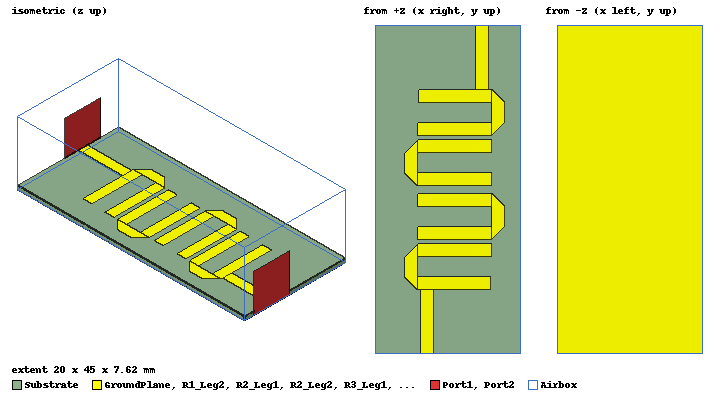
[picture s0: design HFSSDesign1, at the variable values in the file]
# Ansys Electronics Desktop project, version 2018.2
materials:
  copper: permeability=0.999991 conductivity=58000000
  FR4_epoxy: permittivity=4.4 dielectric_loss_tangent=0.02
  LossLess-Rogers RO4003 (tm): permittivity=3.55
  Rogers RO4003 (tm): permittivity=3.55 dielectric_loss_tangent=0.0027
  vacuum: permittivity=1

design HFSSDesign1 (HFSS, DrivenModal, model units mm)
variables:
  AirboxWidth = 45mm
  AirboxHeight = 20mm
  Thickness = 31mil
  a = 0.252
  Beta1 = 0.405
  Beta2 = Beta1
  R1Beta1 = 0.3999375  # optimise 0.2025..0.6075; tune 0.2025..0.6075
  W = 1.78mm
  W50 = 1.78mm
  Len = 24.95604769mm
  Resonator1W = a*Len
  Resonator1H = W + max(Beta1,Beta2)*Len
  Resonator2W = a*Len
  Resonator3W = a*Len
  Resonator4W = a*Len
  Spacing1 = 0.6720255mm  # optimise 0.38958mm..1.16874mm; tune 0.38958mm..1.16874mm
  Spacing2 = 1.00619125mm  # optimise 0.490825mm..1.472475mm; tune 0.490825mm..1.472475mm
  Spacing3 = Spacing1
  WeakGap = 0mm
  ResonatorsW = Resonator1W + Resonator2W + Resonator3W + Resonator4W + Spacing1 + Spacing2 + Spacing3
  Resonator1X = (AirboxHeight/2) - (Resonator1H/2)
  Resonator1Y = AirboxWidth/2 - ResonatorsW/2
  Resonator2X = Resonator1X+W
  Resonator2Y = Resonator1Y + Resonator1W + Spacing1
  Resonator3X = Resonator1X
  Resonator3Y = Resonator2Y + Resonator2W + Spacing2
  Resonator4X = Resonator1X+W
  Resonator4Y = Resonator3Y + Resonator3W + Spacing3
  FeedOffset = 0.341mm  # optimise 0.1705mm..0.5115mm
  FeedLen = Resonator1Y-WeakGap
  F1X = Resonator1X+W+FeedOffset
  F1Y = 0mm
  F2X = Resonator2X-W+max(Beta1,Beta2)*Len - FeedOffset
  F2Y = FeedLen + ResonatorsW + 2*WeakGap
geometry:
  Substrate [Rogers RO4003 (tm)] = box(corner=(0mm, 0mm, 0mm), size=(AirboxHeight, AirboxWidth, Thickness))
  Airbox [vacuum] = box(corner=(0mm, 0mm, 0mm), size=(AirboxHeight, AirboxWidth, 495mil))
  Feed1 = rectangle(corner=(F1X, F1Y, Thickness), x_size=W50, y_size=FeedLen)
  Feed2 = rectangle(corner=(F2X, F2Y, Thickness), x_size=W50, y_size=FeedLen)
  GroundPlane = rectangle(corner=(0, 0, 0), x_size=AirboxHeight, y_size=AirboxWidth)
  R1_Bridge = rectangle(corner=(Resonator1X, Resonator1Y, Thickness), x_size=W, y_size=a*Len)
  R1_Leg1 = rectangle(corner=(Resonator1X+W, Resonator1Y, Thickness), x_size=R1Beta1*Len, y_size=W)
  R1_Leg2 = rectangle(corner=(Resonator1X+W, Resonator1Y+(a*Len)-W, Thickness), x_size=Beta2*Len, y_size=W)
  R2_Bridge = rectangle(corner=(Resonator2X+max(Beta1,Beta2)*Len, Resonator2Y, Thickness), x_size=W, y_size=a*Len)
  R2_Leg1 = rectangle(corner=(Resonator2X, Resonator2Y, Thickness), x_size=Beta1*Len, y_size=W)
  R2_Leg2 = rectangle(corner=(Resonator2X, Resonator2Y+(a*Len)-W, Thickness), x_size=Beta2*Len, y_size=W)
  R3_Bridge = rectangle(corner=(Resonator3X, Resonator3Y, Thickness), x_size=W, y_size=a*Len)
  R3_Leg1 = rectangle(corner=(Resonator3X+W, Resonator3Y, Thickness), x_size=Beta1*Len, y_size=W)
  R3_Leg2 = rectangle(corner=(Resonator3X+W, Resonator3Y+(a*Len)-W, Thickness), x_size=Beta1*Len, y_size=W)
  R4_Bridge = rectangle(corner=(Resonator4X+max(Beta1,Beta2)*Len, Resonator4Y, Thickness), x_size=W, y_size=a*Len)
  R4_Leg1 = rectangle(corner=(Resonator4X, Resonator4Y, Thickness), x_size=Beta1*Len, y_size=W)
  R4_Leg2 = rectangle(corner=(Resonator4X-(R1Beta1-Beta1)*Len, Resonator4Y+(a*Len)-W, Thickness), x_size=R1Beta1*Len, y_size=W)
  Port1 = rectangle(corner=(F1X-(W50*3/2), 0mm, 0mm), z_size=300mil, x_size=W50*4)
  Port2 = rectangle(corner=(F2X-(W50*3/2), AirboxWidth, 0), z_size=300mil, x_size=W50*4)
  Polyline1 = polyline(z=Thickness, xy: (Resonator1X, Resonator1Y) (Resonator1X, Resonator1Y + W) (Resonator1X+W, Resonator1Y) (Resonator1X, Resonator1Y), closed, covered)
  R1_Bridge.subtract(Polyline1)
  Polyline3 = polyline(z=Thickness, xy: (Resonator1X, Resonator1Y + a*Len - W) (Resonator1X, Resonator1Y + a*Len) (Resonator1X+W, Resonator1Y + a*Len) (Resonator1X, Resonator1Y + a*Len - W), closed, covered)
  R1_Bridge.subtract(Polyline3)
  Polyline4 = polyline(z=Thickness, xy: (Resonator2X+Beta1*Len, Resonator2Y) (Resonator2X+Beta1*Len+W, Resonator2Y) (Resonator2X+Beta1*Len+W, Resonator2Y+W) (Resonator2X+Beta1*Len, Resonator2Y), closed, covered)
  R2_Bridge.subtract(Polyline4)
  Polyline5 = polyline(z=Thickness, xy: (Resonator2X+Beta2*Len, Resonator2Y+a*Len) (Resonator2X+Beta2*Len+W, Resonator2Y+a*Len) (Resonator2X+Beta2*Len+W, Resonator2Y+a*Len-W) (Resonator2X+Beta2*Len, Resonator2Y+a*Len), closed, covered)
  R2_Bridge.subtract(Polyline5)
  Polyline6 = polyline(z=Thickness, xy: (Resonator3X, Resonator3Y) (Resonator3X, Resonator3Y+W) (Resonator3X+W, Resonator3Y) (Resonator3X, Resonator3Y), closed, covered)
  R3_Bridge.subtract(Polyline6)
  Polyline7 = polyline(z=Thickness, xy: (Resonator3X, Resonator3Y + a*Len - W) (Resonator3X, Resonator3Y + a*Len) (Resonator3X+W, Resonator3Y+a*Len) (Resonator3X, Resonator3Y + a*Len - W), closed, covered)
  R3_Bridge.subtract(Polyline7)
  Polyline8 = polyline(z=Thickness, xy: (Resonator4X+Beta1*Len, Resonator4Y) (Resonator4X+Beta1*Len+W, Resonator4Y) (Resonator4X+Beta1*Len+W, Resonator4Y+W) (Resonator4X+Beta1*Len, Resonator4Y), closed, covered)
  R4_Bridge.subtract(Polyline8)
  Polyline9 = polyline(z=Thickness, xy: (Resonator4X+Beta2*Len, Resonator4Y+a*Len) (Resonator4X+Beta2*Len+W, Resonator4Y+a*Len) (Resonator4X+Beta2*Len+W, Resonator4Y+a*Len-W) (Resonator4X+Beta2*Len, Resonator4Y+a*Len), closed, covered)
  R4_Bridge.subtract(Polyline9)
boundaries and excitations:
  FiniteCond1: Finite Conductivity Objects=[Feed1, Feed2, GroundPlane, R1_Bridge, R1_Leg1, R1_Leg2, R2_Bridge, R2_Leg1, R2_Leg2, R3_Bridge, R3_Leg1, R3_Leg2, R4_Bridge, R4_Leg1, R4_Leg2] Conductivity=58000000 Permeability=1 IsInternal
  1: Wave Port Objects=Port1 NumModes=1 Modes{Mode1{CharImp=Zpi}}
  2: Wave Port Objects=Port2 NumModes=1 Modes{Mode1{CharImp=Zpi}}
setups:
  Setup1: HfssDriven Frequency=3.6GHz MaxDeltaS=0.005 MaximumPasses=16 MinimumPasses=1 MinimumConvergedPasses=1 PercentRefinement=30 BasisOrder=1 PortAccuracy=2
    sweep Sweep: 2GHz to 4GHz, 900 points; Type=Interpolating InterpTolerance=0.5 InterpMaxSolns=250 InterpUsePortImped=false PassivityErrorTolerance=0.0001
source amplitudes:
  1:1: 1W 0deg
  2:1: 0W 0deg
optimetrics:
  OptimizationSetup1: Optimization Optimizer="Pattern Search" AnalysisStopOptions{StopForNumIteration MaxNumIteration=10000 MinNumIteration=10} CostFuncNormType=L2 Acceptable_Cost=1 Noise=0.0001 UpdateDesignWhenDone
    vary FeedOffset: Min=0.1705mm Max=0.5115mm MinStep=0.00341mm MaxStep=0.0341mm MinFocus=0.1705mm MaxFocus=0.5115mm start=0.341mm
    goal dB(S(1,1)) <= -18 weight 1 on Setup1 : Sweep at Freq 3.48GHz to 3.72GHz
    goal dB(S(1,1)) >= -1 weight 1 on Setup1 : Sweep at Freq 2GHz to 3GHz
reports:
  S Parameter Plot 1: dB(S(1,1)), dB(S(2,1)) vs Freq on Setup1 : Sweep; markers MX1 at x=3.6e+09, MX2 at x=3.48e+09, MX3 at x=3.72e+09, MY1 at y=-15

design Circuit1 (Circuit)
options: SParamCircuitDef IntegrationMethod=FFT
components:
  C2 = CAP_(C="(C1) p")
  C3 = CAP_(C="(C1) p")
  C4 = CAP_(C="(C2) p")
  C5 = CAP_(C="(C2) p")
  C1 = CAP_(C="(K12) p")
  C6 = CAP_(C="(K23) p")
  C7 = CAP_(C="(K12) p")
  S16 = Model()
  port Port1 pnum=1 rz=50ohm iz=0ohm
  port Port2 pnum=2 rz=50ohm iz=0ohm
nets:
  0: C5.0, C2.0, C3.0, C4.0
  net_11: C3.1, C7.0, S16.4
  net_15: C5.1, C6.0, C7.1, S16.6
  net_16: C1.0, C4.1, C6.1, S16.5
  net_8: C1.1, C2.1, S16.3
  Port1: S16.1
  Port2: S16.2
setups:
  LinearFrequency: LinearFrequencyData(false, 0.1, false, "", false) SweepDefinition{Variable=F Data="LIN 2GHz 6GHz 5MHz"}
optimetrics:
  ParametricSetup1: Parametric UseFastCalculationUpdateAlgo SaveSolutions Sim._Setups=[LinearFrequency]
    sweep C1: LINC 0.0025 0.2 25
    sweep C2: LIN 0.0025 0.2 25
    sweep K12: LIN 0.0025 0.2 25
    sweep K23: LIN 0.0025 0.2 25
  OptimizationSetup1: Optimization UseFastCalculationUpdateAlgo Optimizer="Pattern Search" AnalysisStopOptions{StopForNumIteration MaxNumIteration=5000 MinNumIteration=10} CostFuncNormType=L2 PriorPSetup=ParametricSetup1 Acceptable_Cost=0 Noise=0.0001 UpdateDesignWhenDone
    vary C1: Min=-1 Max=1 MinStep=5e-05 MaxStep=0.0005 MinFocus=0.0025 MaxFocus=0.0075 start=0
    vary C2: Min=-1 Max=1 MinStep=5e-05 MaxStep=0.0005 MinFocus=0.0025 MaxFocus=0.0075 start=0
    vary K12: Min=-1 Max=1 MinStep=5e-05 MaxStep=0.0005 MinFocus=0.0025 MaxFocus=0.0075 start=0
    vary K23: Min=-1 Max=1 MinStep=5e-05 MaxStep=0.0005 MinFocus=0.0025 MaxFocus=0.0075 start=0
    goal dB(S(Port1,Port1)) <= -20 weight 2 on LinearFrequency : LinearFrequency at F 3.48GHz to 3.72GHz
    goal dB(S(Port1,Port1)) >= -1 weight 4 on LinearFrequency : LinearFrequency at F 2GHz to 2.8GHz
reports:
  S Parameter Plot 1: dB(S(Port1,Port1)), dB(S(Port2,Port1)) vs F on LinearFrequency : LinearFrequency; markers MY1 at y=-15
  S Parameter Plot 2: dB(S(Port1,Port2)) vs F on LinearFrequency : LinearFrequency

design Circuit2 (Circuit)
options: SParamCircuitDef IntegrationMethod=FFT
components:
  S32 = Tuned_2Port()
  S1 = Tuned_2Port()
  S2 = Tuned_2Port()
  S3 = Tuned_2Port()
  port Port3 pnum=3 rz=50ohm iz=0ohm
  port Port4 pnum=4 rz=50ohm iz=0ohm
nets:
  net_3: S32.1, S1.0
  net_4: S2.0, S1.1
  net_5: S3.0, S2.1
  Port3: S32.0
  Port4: S3.1
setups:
  LinearFrequency: LinearFrequencyData(false, 0.1, false, "", false) SweepDefinition{Variable=F Data="LIN 2GHz 4GHz 0.5MHz"}
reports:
  Filter 2 vs Simulated Response: dB(S(Port3,Port3)), dB(S(Port4,Port3)) vs F on LinearFrequency : LinearFrequency
